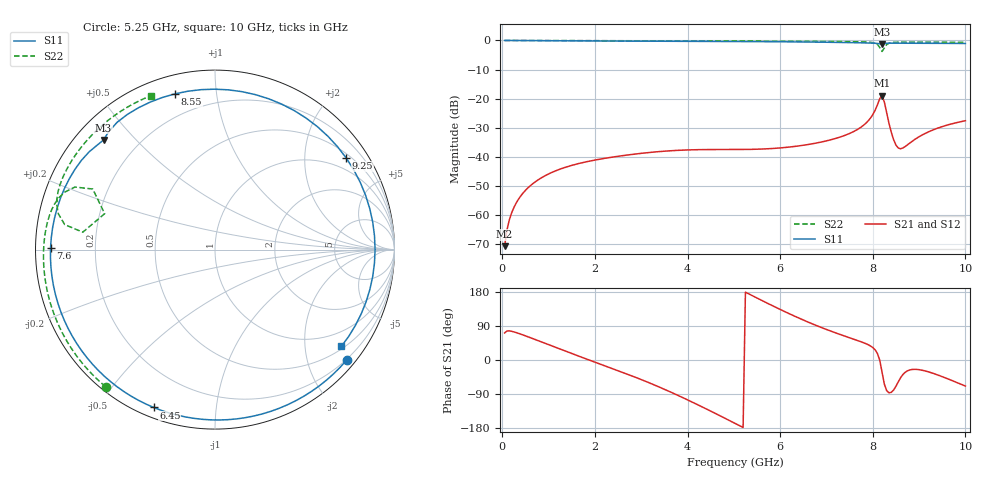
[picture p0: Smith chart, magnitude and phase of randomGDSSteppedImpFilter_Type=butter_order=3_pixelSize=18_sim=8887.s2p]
! freq	dB(S11)	phase(S11)	dB(S12)	phase(S12)
!  dB(S21)	phase(S21)	dB(S22)	phase(S22)
!S-par simulation data
#  GHz  S  DB  R 50
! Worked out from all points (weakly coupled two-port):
!   200 points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, 50 MHz to 10 GHz, reference 50 ohm
!   highest |S21| = -19.00 dB at 8.2 GHz (marker M1); lowest = -70.7 dB at 50 MHz (marker M2)
!   lowest |S11| = -1.2 dB at 8.2 GHz (marker M3), VSWR 14.52, Z = 4.02 + j20.4 ohm
!   |S11| at or under -10 dB: nowhere
!   |S22| runs from -3.8 to 0.0 dB; largest |S21 - S12| = 0
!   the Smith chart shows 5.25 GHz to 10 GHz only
!   S11 on the Smith chart (normalised r, x): 5.25 GHz: 0.18, -2.73; 6.45 GHz: 0.04, -0.68; 7.6 GHz: 0.04, +0.01; 8.55 GHz: 0.09, +0.77; 9.25 GHz: 0.62, +3.07; 10 GHz: 0.56, -2.85
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0.05  -0.00 -3.7  -70.73 71.4  -70.73 71.4  -0.00 -1.3
0.2  -0.01 -14.9  -59.36 75.8  -59.36 75.8  -0.00 -5.3
0.5  -0.03 -37.2  -51.54 63.8  -51.54 63.8  -0.01 -13.3
1.15  -0.11 -84.8  -44.83 33.4  -44.83 33.4  -0.04 -30.4
1.75  -0.16 -128.6  -41.94 5.7  -41.94 5.7  -0.06 -45.8
2.55  -0.22 170.7  -39.71 -30.3  -39.71 -30.3  -0.08 -65.7
3.4  -0.28 101.6  -38.19 -71.9  -38.19 -71.9  -0.11 -86.2
3.8  -0.31 68.3  -37.77 -93.7  -37.77 -93.7  -0.13 -95.5
4.3  -0.33 27.9  -37.53 -122.8  -37.53 -122.8  -0.15 -107.1
5.05  -0.36 -26.8  -37.51 -168.7  -37.51 -168.7  -0.19 -124.0
5.25  -0.38 -40.0  -37.48 178.9  -37.48 178.9  -0.20 -128.5
5.85  -0.43 -76.9  -37.13 142.3  -37.13 142.3  -0.24 -142.1
6.45  -0.51 -111.3  -36.15 108.1  -36.15 108.1  -0.29 -155.8
6.7  -0.55 -125.5  -35.52 95.1  -35.52 95.1  -0.31 -161.7
7.6  -0.76 179.3  -31.22 54.4  -31.22 54.4  -0.43 175.7
8.1  -1.03 142.2  -22.16 17.3  -22.16 17.3  -1.36 155.9
8.2  -1.20 135.5  -19.00 -31.4  -19.00 -31.4  -3.79 162.0
8.35  -0.94 122.9  -28.49 -86.5  -28.49 -86.5  -0.96 167.1
8.55  -0.95 104.4  -36.96 -57.8  -36.96 -57.8  -0.58 157.6
9.25  -1.00 34.9  -31.10 -33.1  -31.10 -33.1  -0.57 135.6
9.6  -0.99 -0.0  -29.13 -48.7  -29.13 -48.7  -0.60 125.0
10  -1.04 -37.5  -27.60 -68.8  -27.60 -68.8  -0.64 112.5
